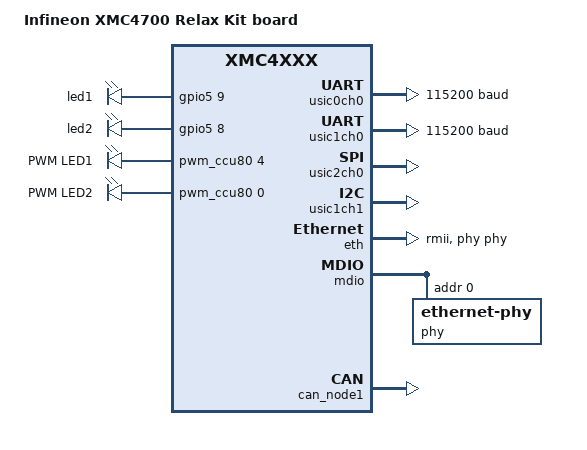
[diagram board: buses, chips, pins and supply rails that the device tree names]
/*
 * SPDX-License-Identifier: Apache-2.0
 *
 * Copyright (c) 2023 Schlumberger
 *
 */

/dts-v1/;

#include <infineon/cat3/xmc/xmc4700_F144x2048.dtsi>
#include <infineon/cat3/xmc/xmc4700_F144x2048-intc.dtsi>
#include <zephyr/dt-bindings/pwm/pwm.h>
#include "xmc47_relax_kit-pinctrl.dtsi"
#include "arduino_r3_connector.dtsi"

/ {
	model = "Infineon XMC4700 Relax Kit board";
	compatible = "infineon,xmc4700", "infineon,xmc4xxx";

	aliases {
		led0 = &led1;
		die-temp0 = &die_temp;
		pwm-led0 = &pwm_led1;
		watchdog0 = &wdt0;
	};

	leds {
		compatible = "gpio-leds";
		/* leds are labelled LED1 and LED2 in the relax kit documentation */
		led1: led1 {
			gpios = <&gpio5 9 GPIO_ACTIVE_HIGH>;
		};
		led2: led2 {
			gpios = <&gpio5 8 GPIO_ACTIVE_HIGH>;
		};
	};

	pwmleds {
		compatible = "pwm-leds";
		pwm_led1: pwm_led1 {
			pwms = <&pwm_ccu80 4 PWM_SEC(1) PWM_POLARITY_NORMAL>;
			label = "PWM LED1";
		};
		pwm_led2: pwm_led2 {
			pwms = <&pwm_ccu80 0 PWM_SEC(1) PWM_POLARITY_NORMAL>;
			label = "PWM LED2";
		};
	};

	chosen {
		zephyr,sram = &dsram_joined;
		zephyr,flash = &flash0;
		zephyr,console = &usic0ch0;
		zephyr,shell-uart = &usic0ch0;
		zephyr,flash-controller = &flash_controller;
		zephyr,code-partition = &code_partition;
		zephyr,canbus = &can_node1;
	};

};

&psram1 {
	compatible = "zephyr,memory-region", "mmio-sram";
	zephyr,memory-region = "PSRAM1";
};

&cpu0 {
	clock-frequency = <144000000>;
};

&flash0 {
	partitions {
		compatible = "fixed-partitions";
		#address-cells = <1>;
		#size-cells = <1>;

		code_partition: partition@0 {
			reg = <0x0 0x80000>;
			read-only;
		};

		storage_partition: partition@80000 {
			label = "storage";
			reg = <0x80000 0x80000>;
		};
	};
};

&usic0ch0 {
	compatible = "infineon,xmc4xxx-uart";
	current-speed = <115200>;
	pinctrl-0 = <&uart_tx_p1_5_u0c0 &uart_rx_p1_4_u0c0>;
	pinctrl-names = "default";
	input-src = "DX0B";
	interrupts = <84 1 85 1>;
	interrupt-names = "tx", "rx";
	fifo-start-offset = <0>;
	fifo-tx-size = <16>;
	fifo-rx-size = <16>;
	status = "okay";
};

&usic1ch0 {
	compatible = "infineon,xmc4xxx-uart";
	current-speed = <115200>;
	pinctrl-0 = <&uart_tx_p2_14_u1c0 &uart_rx_p2_15_u1c0>;
	pinctrl-names = "default";
	input-src = "DX0C";
	interrupts = <92 1 93 1>;
	interrupt-names = "tx", "rx";
	fifo-start-offset = <0>;
	fifo-tx-size = <0>;
	fifo-rx-size = <0>;
	status = "okay";
};

&usic2ch0 {
	compatible = "infineon,xmc4xxx-spi";
	pinctrl-0 = <&spi_mosi_p3_8_u2c0 &spi_miso_p3_7_u2c0 &spi_sclk_p3_9_u2c0>;
	pinctrl-names = "default";
	miso-src = "DX0C";
	interrupts = <96 1 97 1>;
	interrupt-names = "tx", "rx";
	status = "okay";

	#address-cells = <1>;
	#size-cells = <0>;
};

&usic1ch1 {
	compatible = "infineon,xmc4xxx-i2c";
	status = "okay";

	pinctrl-0 = <&i2c_scl_p0_13_u1c1 &i2c_sda_p3_15_u1c1>;
	pinctrl-names = "default";
	scl-src = "DX1B";
	sda-src = "DX0A";
	interrupts = <94 1>;

	#address-cells = <1>;
	#size-cells = <0>;
};

&adc0 {
	vref-internal-mv = <3300>;
};

&adc1 {
	vref-internal-mv = <3300>;
};

&adc2 {
	vref-internal-mv = <3300>;
};

&adc3 {
	vref-internal-mv = <3300>;
};

&gpio5 {
	status = "okay";
};

/* this example is not using the high-side/low-side signals of the same channel */
/* the PWM signals are only used for the blink led example */
&pwm_ccu80 {
	slice-prescaler = <15 15 15 15>;
	slice-deadtime-prescaler = <3 3 3 3>;
	channel-deadtime-high = <0 0 0 0 0 0 0 0>;
	channel-deadtime-low = <0 0 0 0 0 0 0 0>;
	pinctrl-0 = <&pwm_out_p5_9_ccu80_ch4_high &pwm_out_p5_8_ccu80_ch0_low>;
	pinctrl-names = "default";
};

&eth {
	status = "okay";
	pinctrl-0 = <&eth_p2_4_rxer &eth_p2_2_rxd0 &eth_p2_3_rxd1
		     &eth_p15_8_clk_rmii &eth_p15_9_crs_dv &eth_p2_5_tx_en
		     &eth_p2_8_txd0 &eth_p2_9_txd1>;
	pinctrl-names = "default";

	rxer-port-ctrl = "P2_4";
	rxd0-port-ctrl = "P2_2";
	rxd1-port-ctrl = "P2_3";
	rmii-rx-clk-port-ctrl = "P15_8";
	crs-rx-dv-port-ctrl = "P15_9";

	phy-connection-type = "rmii";
	phy-handle = <&phy>;
};

&mdio {
	status = "okay";
	mdi-port-ctrl = "P2_0";
	pinctrl-0 = <&eth_p2_0_mdo &eth_p2_7_mdc>;
	pinctrl-names = "default";

	phy: ethernet-phy@0 {
		compatible = "ethernet-phy";
		reg = <0>;
	};
};

&can {
	clock-prescaler = <6>;
};

&can_node1 {
	status = "okay";
	input-src = "RXDC";
	pinctrl-0 = <&can_tx_p1_12_node1 &can_rx_p1_13_node1>;
	pinctrl-names = "default";
};
